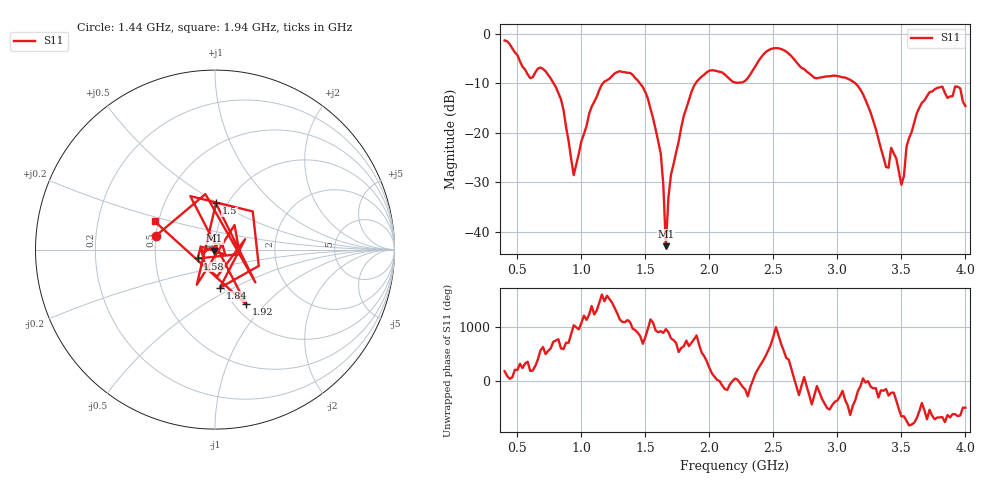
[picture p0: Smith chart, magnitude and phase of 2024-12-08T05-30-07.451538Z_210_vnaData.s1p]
!Created with skrf (http://scikit-rf.org).
# Hz S RI R 50.0
!freq ReS11 ImS11
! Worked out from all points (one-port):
!   181 points, 400 MHz to 4 GHz, reference 50 ohm
!   lowest |S11| = -42.9 dB at 1.66 GHz (marker M1), VSWR 1.01, Z = 49.6 - j0.561 ohm
!   |S11| at or under -10 dB: 782.9 MHz to 1.168 GHz (384.7 MHz wide, 39.4 % of centre); 1.458 GHz to 1.892 GHz (434.1 MHz wide, 25.9 % of centre); 3.141 GHz to end of sweep
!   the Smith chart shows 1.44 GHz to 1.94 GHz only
!   S11 on the Smith chart (normalised r, x): 1.44 GHz: 0.50, +0.09; 1.5 GHz: 0.88, +0.49; 1.58 GHz: 0.82, -0.08; 1.84 GHz: 0.96, -0.43; 1.92 GHz: 1.13, -0.79; 1.94 GHz: 0.48, +0.17
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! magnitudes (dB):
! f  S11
! 400 MHz  -1.3
! 600 MHz  -8.9
! 720 MHz  -7.5
! 860 MHz  -15.3
! 940 MHz  -28.5
! 1.08 GHz  -14.7
! 1.3 GHz  -7.5
! 1.44 GHz  -9.4
! 1.5 GHz  -11.8
! 1.58 GHz  -19.3
! 1.62 GHz  -24.2
! 1.66 GHz  -42.9
! 1.7 GHz  -28.4
! 1.76 GHz  -21.7
! 1.84 GHz  -13.4
! 1.92 GHz  -9.1
! 1.94 GHz  -8.6
! 2.2 GHz  -9.8
! 2.48 GHz  -3.1
! 2.66 GHz  -5.1
! 3.1 GHz  -9.3
! 3.24 GHz  -14.6
! 3.38 GHz  -26.9
! 3.42 GHz  -23.0
! 3.5 GHz  -30.5
! 3.56 GHz  -21.0
! 3.76 GHz  -11.2
! 4 GHz  -14.6
